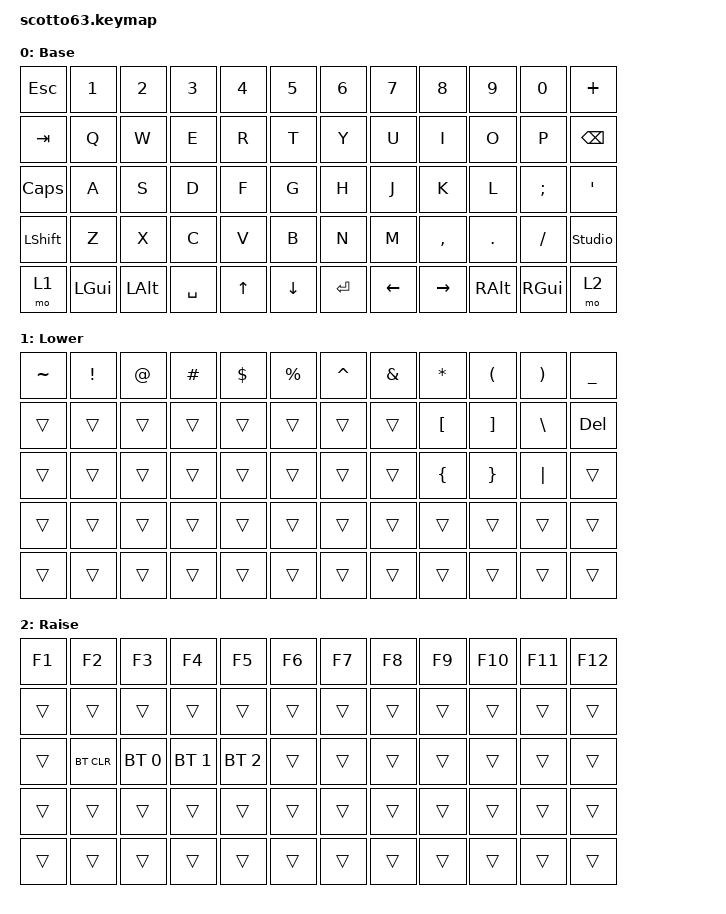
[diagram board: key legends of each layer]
#include <behaviors.dtsi>
#include <dt-bindings/zmk/bt.h>
#include <dt-bindings/zmk/keys.h>

/ {
    keymap {
        compatible = "zmk,keymap";

        default_layer {
            display-name = "Base";
            bindings = <
&kp ESC         &kp N1    &kp N2    &kp N3     &kp N4  &kp N5    &kp N6     &kp N7    &kp N8     &kp N9    &kp N0    &kp PLUS
&kp TAB         &kp Q     &kp W     &kp E      &kp R   &kp T     &kp Y      &kp U     &kp I      &kp O     &kp P     &kp BSPC
&kp CAPSLOCK    &kp A     &kp S     &kp D      &kp F   &kp G     &kp H      &kp J     &kp K      &kp L     &kp SEMI  &kp APOS
&kp LEFT_SHIFT  &kp Z     &kp X     &kp C      &kp V   &kp B     &kp N      &kp M     &kp COMMA  &kp DOT   &kp FSLH  &studio_unlock
&mo 1           &kp LGUI  &kp LALT  &kp SPACE  &kp UP  &kp DOWN  &kp ENTER  &kp LEFT  &kp RIGHT  &kp RALT  &kp RGUI  &mo 2
            >;
        };

        lower_layer {
            display-name = "Lower";
            bindings = <
&kp TILDE  &kp EXCL  &kp AT  &kp HASH  &kp DLLR  &kp PRCNT  &kp CARET  &kp AMPS  &kp ASTRK  &kp LPAR  &kp RPAR  &kp UNDER
&trans     &trans    &trans  &trans    &trans    &trans     &trans     &trans    &kp LBKT   &kp RBKT  &kp BSLH  &kp DEL
&trans     &trans    &trans  &trans    &trans    &trans     &trans     &trans    &kp LBRC   &kp RBRC  &kp PIPE  &trans
&trans     &trans    &trans  &trans    &trans    &trans     &trans     &trans    &trans     &trans    &trans    &trans
&trans     &trans    &trans  &trans    &trans    &trans     &trans     &trans    &trans     &trans    &trans    &trans
            >;
        };

        raise_layer {
            display-name = "Raise";
            bindings = <
&kp F1  &kp F2      &kp F3        &kp F4        &kp F5        &kp F6  &kp F7  &kp F8  &kp F9  &kp F10  &kp F11  &kp F12
&trans  &trans      &trans        &trans        &trans        &trans  &trans  &trans  &trans  &trans   &trans   &trans
&trans  &bt BT_CLR  &bt BT_SEL 0  &bt BT_SEL 1  &bt BT_SEL 2  &trans  &trans  &trans  &trans  &trans   &trans   &trans
&trans  &trans      &trans        &trans        &trans        &trans  &trans  &trans  &trans  &trans   &trans   &trans
&trans  &trans      &trans        &trans        &trans        &trans  &trans  &trans  &trans  &trans   &trans   &trans
            >;
        };
    };
};
